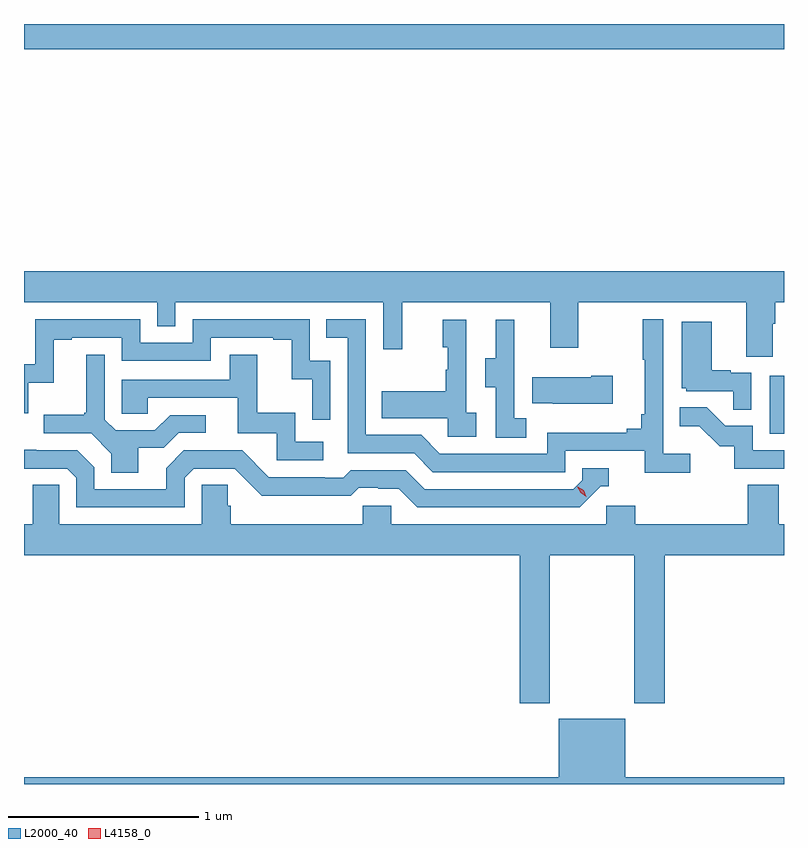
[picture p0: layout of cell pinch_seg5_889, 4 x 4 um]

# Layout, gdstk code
import gdstk
lib = gdstk.Library(unit=1e-6, precision=1e-09)
def R(c, l, rs):  # rectangles x0, y0, x1, y1
    for r in rs: c.add(gdstk.rectangle(r[:2], r[2:], *l))
def P(c, l, *ps):  # polygons
    for p in ps: c.add(gdstk.Polygon(p, *l))
L2000_40 = (2000, 40)
L4158_0 = (4158, 0)

pinch_seg5_889 = lib.new_cell('pinch_seg5_889')
R(pinch_seg5_889, L2000_40, [(822.704,885.372,822.779,885.679), (818.779,887.396,822.779,887.529)])
P(pinch_seg5_889, L2000_40, [(822.721,885.952),(822.734,885.952),(822.734,886.064),(822.779,886.064),(822.779,886.228),(818.779,886.228),(818.779,886.064),(819.48,886.064),(819.48,885.937),(819.576,885.937),(819.576,886.064),(820.671,886.064),(820.671,885.816),(820.769,885.816),(820.769,886.064),(821.549,886.064),(821.549,885.825),(821.697,885.825),(821.697,886.064),(822.581,886.064),(822.581,885.778),(822.721,885.778)],
  [(822.286,885.268),(822.144,885.268),(822.144,885.976),(822.036,885.976),(822.036,885.763),(822.047,885.763),(822.047,885.475),(822.028,885.475),(822.028,885.398),(821.951,885.398),(821.951,885.379),(821.532,885.379),(821.532,885.267),(820.968,885.267),(820.869,885.366),(820.578,885.366),(820.578,885.975),(820.369,885.975),(820.369,885.879),(820.482,885.879),(820.482,885.27),(820.832,885.27),(820.931,885.171),(821.628,885.171),(821.628,885.282),(822.047,885.282),(822.047,885.166),(822.286,885.166)],
  [(820.392,885.756),(820.284,885.756),(820.284,885.975),(819.666,885.975),(819.666,885.852),(819.39,885.852),(819.39,885.975),(818.838,885.975),(818.838,885.739),(818.779,885.739),(818.779,885.48),(818.802,885.48),(818.802,885.641),(818.935,885.641),(818.935,885.867),(819.031,885.867),(819.031,885.879),(819.294,885.879),(819.294,885.756),(819.762,885.756),(819.762,885.879),(820.091,885.879),(820.091,885.867),(820.187,885.867),(820.187,885.659),(820.296,885.659),(820.296,885.447),(820.392,885.447)],
  [(821.422,885.455),(821.358,885.455),(821.358,885.759),(821.36,885.759),(821.36,885.973),(821.261,885.973),(821.261,885.771),(821.207,885.771),(821.207,885.616),(821.262,885.616),(821.262,885.352),(821.422,885.352)],
  [(821.158,885.482),(821.106,885.482),(821.106,885.973),(820.982,885.973),(820.982,885.828),(821.008,885.828),(821.008,885.71),(820.998,885.71),(820.998,885.595),(820.663,885.595),(820.663,885.455),(821.01,885.455),(821.01,885.357),(821.158,885.357)],
  [(822.606,885.693),(822.5,885.693),(822.5,885.706),(822.4,885.706),(822.4,885.961),(822.242,885.961),(822.242,885.612),(822.264,885.612),(822.264,885.597),(822.511,885.597),(822.511,885.499),(822.606,885.499)],
  [(820.354,885.33),(820.206,885.33),(820.206,885.484),(820.007,885.484),(820.007,885.787),(819.863,885.787),(819.863,885.657),(819.294,885.657),(819.294,885.477),(819.431,885.477),(819.431,885.561),(819.905,885.561),(819.905,885.375),(820.11,885.375),(820.11,885.234),(820.354,885.234)],
  [(819.379,885.298),(819.514,885.298),(819.594,885.378),(819.736,885.378),(819.736,885.471),(819.548,885.471),(819.467,885.39),(819.261,885.39),(819.204,885.447),(819.204,885.787),(819.107,885.787),(819.107,885.484),(819.096,885.484),(819.096,885.472),(818.883,885.472),(818.883,885.375),(819.132,885.375),(819.239,885.268),(819.239,885.166),(819.379,885.166)],
  [(821.878,885.678),(821.765,885.678),(821.765,885.67),(821.455,885.67),(821.455,885.533),(821.563,885.533),(821.563,885.53),(821.878,885.53)],
  [(822.779,885.285),(822.615,885.285),(822.615,885.414),(822.471,885.414),(822.373,885.512),(822.229,885.512),(822.229,885.413),(822.333,885.413),(822.44,885.306),(822.517,885.306),(822.517,885.189),(822.779,885.189)],
  [(819.624,885.141),(819.672,885.189),(819.888,885.189),(820.03,885.047),(820.266,885.047),(820.266,885.045),(820.499,885.045),(820.541,885.087),(820.644,885.087),(820.644,885.084),(820.751,885.084),(820.85,884.985),(821.703,884.985),(821.814,885.096),(821.857,885.096),(821.857,885.192),(821.718,885.192),(821.718,885.129),(821.67,885.081),(820.887,885.081),(820.788,885.18),(820.499,885.18),(820.46,885.141),(820.361,885.141),(820.361,885.144),(820.068,885.144),(819.927,885.285),(819.621,885.285),(819.527,885.191),(819.527,885.081),(819.15,885.081),(819.15,885.195),(819.06,885.285),(818.844,885.285),(818.844,885.287),(818.779,885.287),(818.779,885.189),(819.006,885.189),(819.054,885.141),(819.054,884.985),(819.624,884.985)],
  [(821.547,884.732),(821.992,884.732),(821.992,883.953),(822.152,883.953),(822.152,884.732),(822.779,884.732),(822.779,884.896),(822.752,884.896),(822.752,885.104),(822.587,885.104),(822.587,884.896),(821.996,884.896),(821.996,884.994),(821.844,884.994),(821.844,884.896),(820.713,884.896),(820.713,884.994),(820.563,884.994),(820.563,884.896),(819.866,884.896),(819.866,884.994),(819.851,884.994),(819.851,885.104),(819.714,885.104),(819.714,884.896),(818.964,884.896),(818.964,885.104),(818.825,885.104),(818.825,884.896),(818.779,884.896),(818.779,884.732),(821.387,884.732),(821.387,883.953),(821.547,883.953)],
  [(818.779,883.529),(822.779,883.529),(822.779,883.564),(821.944,883.564),(821.944,883.873),(821.594,883.873),(821.594,883.564),(818.779,883.564)])
P(pinch_seg5_889, L4158_0, [(821.739,885.041),(821.708,885.061),(821.692,885.094),(821.692,885.094),(821.693,885.094),(821.724,885.074),(821.739,885.041),(821.739,885.041)])

lib.write_gds('pinch_seg5_889.gds')
